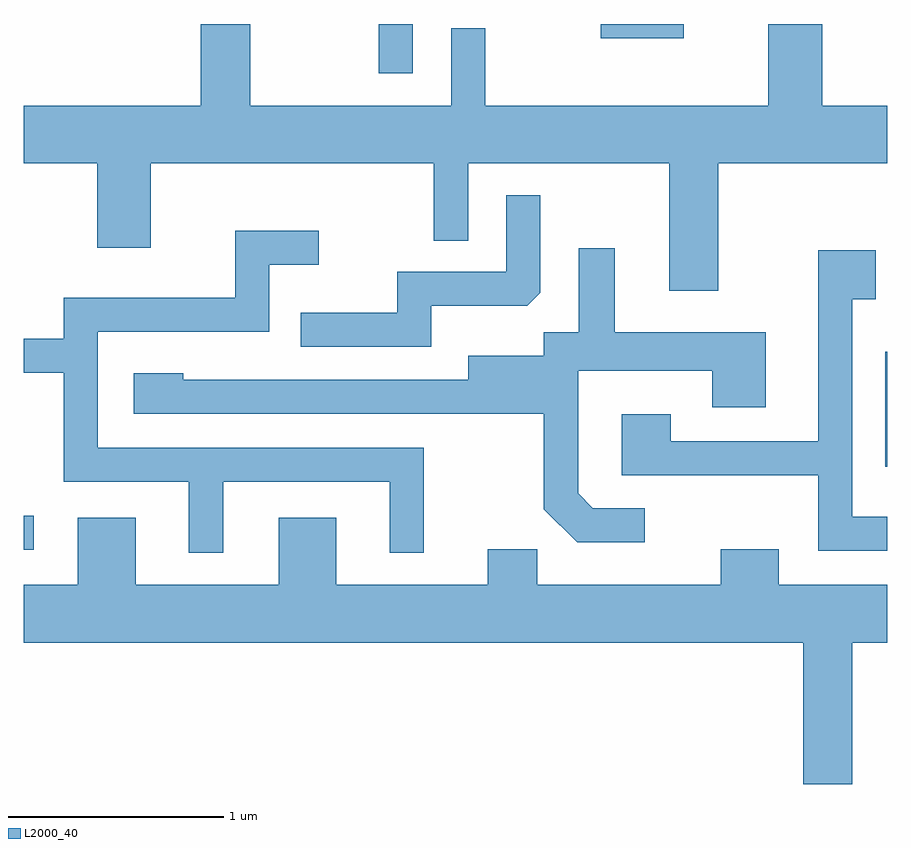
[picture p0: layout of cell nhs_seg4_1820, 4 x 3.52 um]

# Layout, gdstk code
import gdstk
lib = gdstk.Library(unit=1e-6, precision=1e-09)
def R(c, l, rs):  # rectangles x0, y0, x1, y1
    for r in rs: c.add(gdstk.rectangle(r[:2], r[2:], *l))
def P(c, l, *ps):  # polygons
    for p in ps: c.add(gdstk.Polygon(p, *l))
L2000_40 = (2000, 40)

nhs_seg4_1820 = lib.new_cell('nhs_seg4_1820')
R(nhs_seg4_1820, L2000_40, [(237.611,1359.546,237.658,1359.704), (241.601,1359.931,241.611,1360.463), (239.256,1361.753,239.414,1361.982), (240.283,1361.916,240.669,1361.982)])
P(nhs_seg4_1820, L2000_40, [(238.659,1361.982),(238.431,1361.982),(238.431,1361.604),(237.611,1361.604),(237.611,1361.336),(237.951,1361.336),(237.951,1360.946),(238.199,1360.946),(238.199,1361.336),(239.511,1361.336),(239.511,1360.978),(239.669,1360.978),(239.669,1361.336),(240.601,1361.336),(240.601,1360.746),(240.829,1360.746),(240.829,1361.336),(241.611,1361.336),(241.611,1361.604),(241.309,1361.604),(241.309,1361.982),(241.061,1361.982),(241.061,1361.604),(239.749,1361.604),(239.749,1361.963),(239.591,1361.963),(239.591,1361.604),(238.659,1361.604)],
  [(239.499,1360.676),(239.944,1360.676),(240.004,1360.737),(240.004,1361.188),(239.846,1361.188),(239.846,1360.834),(239.341,1360.834),(239.341,1360.644),(238.893,1360.644),(238.893,1360.486),(239.499,1360.486)],
  [(238.534,1359.861),(239.306,1359.861),(239.306,1359.533),(239.464,1359.533),(239.464,1360.019),(237.954,1360.019),(237.954,1360.556),(238.749,1360.556),(238.749,1360.866),(238.978,1360.866),(238.978,1361.024),(238.591,1361.024),(238.591,1360.714),(237.796,1360.714),(237.796,1360.524),(237.611,1360.524),(237.611,1360.366),(237.796,1360.366),(237.796,1359.861),(238.376,1359.861),(238.376,1359.533),(238.534,1359.533)],
  [(240.488,1359.739),(240.247,1359.739),(240.179,1359.807),(240.179,1360.376),(240.801,1360.376),(240.801,1360.206),(241.049,1360.206),(241.049,1360.554),(240.349,1360.554),(240.349,1360.943),(240.181,1360.943),(240.181,1360.554),(240.021,1360.554),(240.021,1360.444),(239.671,1360.444),(239.671,1360.334),(238.349,1360.334),(238.349,1360.364),(238.121,1360.364),(238.121,1360.176),(240.021,1360.176),(240.021,1359.734),(240.174,1359.581),(240.488,1359.581)],
  [(241.611,1359.699),(241.449,1359.699),(241.449,1360.706),(241.559,1360.706),(241.559,1360.934),(241.291,1360.934),(241.291,1360.049),(240.609,1360.049),(240.609,1360.174),(240.381,1360.174),(240.381,1359.891),(241.291,1359.891),(241.291,1359.541),(241.611,1359.541)],
  [(241.449,1359.116),(241.611,1359.116),(241.611,1359.384),(241.109,1359.384),(241.109,1359.549),(240.841,1359.549),(240.841,1359.384),(239.989,1359.384),(239.989,1359.549),(239.761,1359.549),(239.761,1359.384),(239.059,1359.384),(239.059,1359.694),(238.791,1359.694),(238.791,1359.384),(238.129,1359.384),(238.129,1359.694),(237.861,1359.694),(237.861,1359.384),(237.611,1359.384),(237.611,1359.116),(241.221,1359.116),(241.221,1358.461),(241.449,1358.461)])

lib.write_gds('nhs_seg4_1820.gds')
